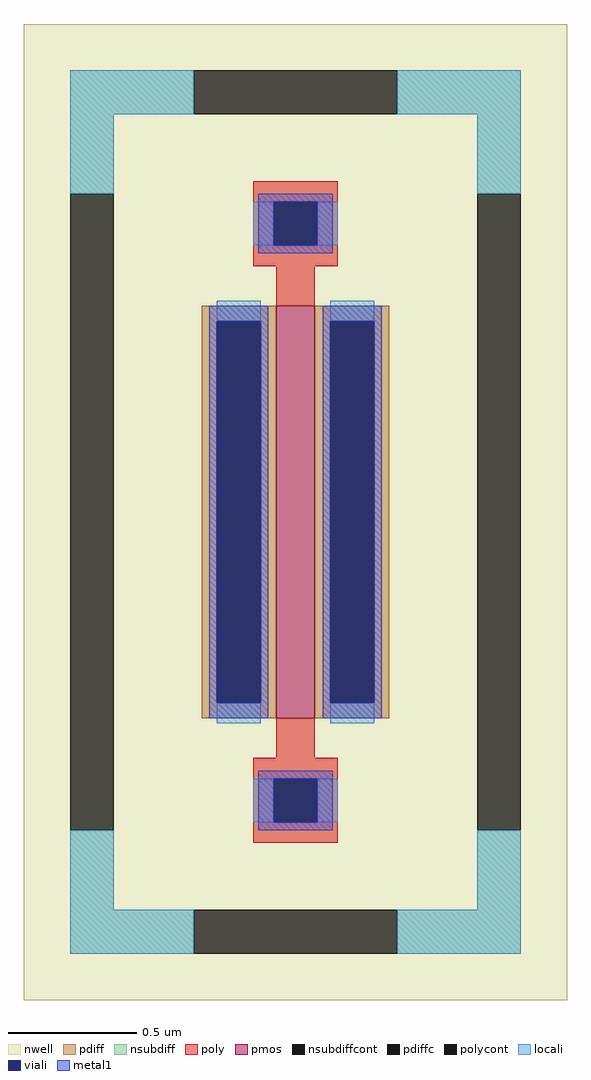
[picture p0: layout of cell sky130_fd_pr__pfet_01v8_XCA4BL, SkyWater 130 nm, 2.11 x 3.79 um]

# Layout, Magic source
magic
tech sky130A
magscale 1 2
<< nwell >>
rect -211 -379 211 379
<< pmos >>
rect -15 -160 15 160
<< pdiff >>
rect -73 148 -15 160
rect -73 -148 -61 148
rect -27 -148 -15 148
rect -73 -160 -15 -148
rect 15 148 73 160
rect 15 -148 27 148
rect 61 -148 73 148
rect 15 -160 73 -148
<< pdiffc >>
rect -61 -148 -27 148
rect 27 -148 61 148
<< nsubdiff >>
rect -175 309 -79 343
rect 79 309 175 343
rect -175 247 -141 309
rect 141 247 175 309
rect -175 -309 -141 -247
rect 141 -309 175 -247
rect -175 -343 -79 -309
rect 79 -343 175 -309
<< nsubdiffcont >>
rect -79 309 79 343
rect -175 -247 -141 247
rect 141 -247 175 247
rect -79 -343 79 -309
<< poly >>
rect -33 241 33 257
rect -33 207 -17 241
rect 17 207 33 241
rect -33 191 33 207
rect -15 160 15 191
rect -15 -191 15 -160
rect -33 -207 33 -191
rect -33 -241 -17 -207
rect 17 -241 33 -207
rect -33 -257 33 -241
<< polycont >>
rect -17 207 17 241
rect -17 -241 17 -207
<< locali >>
rect -175 309 -79 343
rect 79 309 175 343
rect -175 247 -141 309
rect 141 247 175 309
rect -33 207 -17 241
rect 17 207 33 241
rect -61 148 -27 164
rect -61 -164 -27 -148
rect 27 148 61 164
rect 27 -164 61 -148
rect -33 -241 -17 -207
rect 17 -241 33 -207
rect -175 -309 -141 -247
rect 141 -309 175 -247
rect -175 -343 -79 -309
rect 79 -343 175 -309
<< viali >>
rect -17 207 17 241
rect -61 -148 -27 148
rect 27 -148 61 148
rect -17 -241 17 -207
<< metal1 >>
rect -29 241 29 247
rect -29 207 -17 241
rect 17 207 29 241
rect -29 201 29 207
rect -67 148 -21 160
rect -67 -148 -61 148
rect -27 -148 -21 148
rect -67 -160 -21 -148
rect 21 148 67 160
rect 21 -148 27 148
rect 61 -148 67 148
rect 21 -160 67 -148
rect -29 -207 29 -201
rect -29 -241 -17 -207
rect 17 -241 29 -207
rect -29 -247 29 -241
<< properties >>
string FIXED_BBOX -158 -326 158 326
string gencell sky130_fd_pr__pfet_01v8
string library sky130
string parameters w 1.6 l 0.15 m 1 nf 1 diffcov 100 polycov 100 guard 1 glc 1 grc 1 gtc 1 gbc 1 tbcov 100 rlcov 100 topc 1 botc 1 poverlap 0 doverlap 1 lmin 0.15 wmin 0.42 compatible {sky130_fd_pr__pfet_01v8  sky130_fd_pr__pfet_01v8_lvt sky130_fd_pr__pfet_01v8_hvt  sky130_fd_pr__pfet_g5v0d10v5} full_metal 1 viasrc 100 viadrn 100 viagate 100 viagb 0 viagr 0 viagl 0 viagt 0
<< end >>
